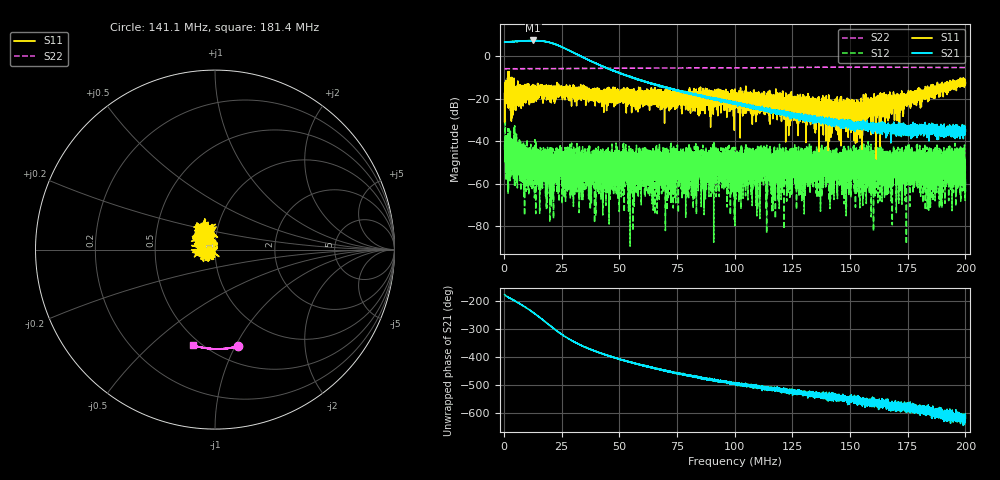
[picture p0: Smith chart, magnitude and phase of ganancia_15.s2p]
# Hz S DB R 50
! CMT, M5065, 19127446, 24.2.4/2
! Date: 11/8/2024 3:54:00 PM
! Data: Format (Calibration Info)
! Freq	S11:dB/Ang(F2)	S21:dB/Ang(F2)	S12:dB/Ang(F2)	S22:dB/Ang(F2)
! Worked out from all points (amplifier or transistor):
!   9000 points, 300 kHz to 200 MHz, reference 50 ohm
!   highest |S21| = 7.4 dB at 12.68 MHz (marker M1)
!   |S21| within 3 dB of that: start of sweep to 24.95 MHz
!   unconditionally stable (mu >= 1): start of sweep to end of sweep
!   at 33.59 MHz: K = 840.16, MAG = 1.3 dB, |S12| = -67.3 dB
!   at 100.2 MHz: K = 1529.95, MAG = -20.2 dB, |S12| = -50.9 dB
!   at 200 MHz: K = 13382.61, MAG = -32.8 dB, |S12| = -57.6 dB
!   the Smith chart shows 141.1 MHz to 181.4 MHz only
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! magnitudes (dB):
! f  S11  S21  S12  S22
! 300 kHz  -17.3  6.8  -43.9  -5.9
! 12.68 MHz  -14.7  7.4  -62.2  -5.8
! 33.59 MHz  -15.8  -0.2  -67.3  -5.7
! 66.87 MHz  -19.7  -13.9  -54.4  -5.5
! 84.49 MHz  -21.9  -18.5  -52.6  -5.5
! 86.31 MHz  -22.7  -19.0  -62.2  -5.5
! 91.99 MHz  -19.0  -20.4  -57.3  -5.5
! 100.2 MHz  -24.6  -21.7  -50.9  -5.4
! 105.5 MHz  -22.4  -23.1  -50.4  -5.4
! 110.2 MHz  -19.9  -24.3  -48.5  -5.4
! 112.4 MHz  -23.0  -25.5  -51.4  -5.4
! 116.7 MHz  -22.6  -26.1  -52.0  -5.4
! 133.4 MHz  -26.0  -28.7  -47.6  -5.2
! 147.9 MHz  -22.9  -32.6  -52.8  -5.1
! 154.7 MHz  -27.5  -32.9  -44.5  -5.1
! 156.8 MHz  -17.7  -32.6  -47.4  -5.1
! 166.7 MHz  -20.9  -32.5  -48.8  -5.2
! 181.8 MHz  -17.0  -35.8  -44.3  -5.3
! 185.2 MHz  -14.6  -33.1  -55.4  -5.3
! 187.6 MHz  -15.9  -35.2  -49.0  -5.3
! 198 MHz  -14.1  -34.9  -51.4  -5.3
! 200 MHz  -12.4  -34.6  -57.6  -5.3
